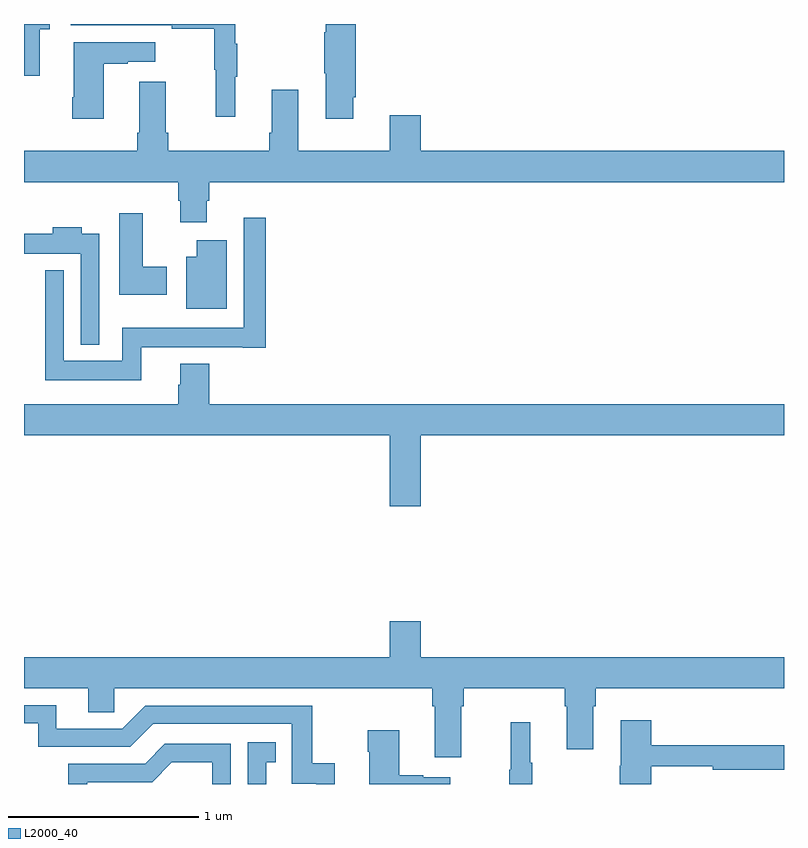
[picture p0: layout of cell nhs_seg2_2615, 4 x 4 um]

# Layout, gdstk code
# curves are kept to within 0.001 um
import gdstk
lib = gdstk.Library(unit=1e-6, precision=1e-09)
def P(c, l, *ps):  # polygons
    for p in ps: c.add(gdstk.Polygon(p, *l))
L2000_40 = (2000, 40)

nhs_seg2_2615 = lib.new_cell('nhs_seg2_2615')
P(nhs_seg2_2615, L2000_40, [(247.082,649.773),(247.135,649.773),(247.135,649.8),(247,649.8),(247,649.527),(247.082,649.527)],
  [(248.111,649.523),(248.122,649.523),(248.122,649.697),(248.111,649.697),(248.111,649.8),(247.245,649.8),(247.245,649.794),(247.777,649.794),(247.777,649.774),(248.001,649.774),(248.001,649.56),(248.008,649.56),(248.008,649.311),(248.111,649.311)],
  [(248.734,649.414),(248.747,649.414),(248.747,649.8),(248.588,649.8),(248.588,649.757),(248.581,649.757),(248.581,649.54),(248.588,649.54),(248.588,649.302),(248.734,649.302)],
  [(247.42,649.591),(247.547,649.591),(247.547,649.601),(247.69,649.601),(247.69,649.705),(247.262,649.705),(247.262,649.414),(247.255,649.414),(247.255,649.302),(247.42,649.302)],
  [(247.963,648.87),(247.976,648.87),(247.976,648.968),(251,648.968),(251,649.132),(249.088,649.132),(249.088,649.321),(248.924,649.321),(248.924,649.132),(248.443,649.132),(248.443,649.453),(248.303,649.453),(248.303,649.228),(248.291,649.228),(248.291,649.132),(247.76,649.132),(247.76,649.228),(247.747,649.228),(247.747,649.495),(247.607,649.495),(247.607,649.228),(247.595,649.228),(247.595,649.132),(247,649.132),(247,648.968),(247.811,648.968),(247.811,648.87),(247.823,648.87),(247.823,648.756),(247.963,648.756)],
  [(247.75,648.522),(247.624,648.522),(247.624,648.805),(247.502,648.805),(247.502,648.374),(247.75,648.374)],
  [(247.616,648.098),(248.15,648.098),(248.15,648.096),(248.273,648.096),(248.273,648.781),(248.157,648.781),(248.157,648.202),(247.518,648.202),(247.518,648.028),(247.209,648.028),(247.209,648.505),(247.112,648.505),(247.112,647.924),(247.616,647.924)],
  [(247.395,648.697),(247.303,648.697),(247.303,648.73),(247.151,648.73),(247.151,648.697),(247,648.697),(247,648.59),(247.299,648.59),(247.299,648.113),(247.395,648.113)],
  [(248.068,648.661),(247.91,648.661),(247.91,648.574),(247.853,648.574),(247.853,648.302),(248.068,648.302)],
  [(249.088,647.636),(251,647.636),(251,647.8),(247.976,647.8),(247.976,648.013),(247.823,648.013),(247.823,647.901),(247.811,647.901),(247.811,647.8),(247,647.8),(247,647.636),(248.924,647.636),(248.924,647.262),(249.088,647.262)],
  [(249.301,646.208),(249.314,646.208),(249.314,646.304),(249.845,646.304),(249.845,646.208),(249.857,646.208),(249.857,645.984),(249.997,645.984),(249.997,646.208),(250.01,646.208),(250.01,646.304),(251,646.304),(251,646.468),(249.088,646.468),(249.088,646.657),(248.924,646.657),(248.924,646.468),(247,646.468),(247,646.304),(247.337,646.304),(247.337,646.177),(247.476,646.177),(247.476,646.304),(249.149,646.304),(249.149,646.208),(249.161,646.208),(249.161,645.942),(249.301,645.942)],
  [(248.636,645.91),(248.518,645.91),(248.518,646.212),(247.638,646.212),(247.518,646.092),(247.171,646.092),(247.171,646.215),(247,646.215),(247,646.119),(247.074,646.119),(247.074,645.996),(247.56,645.996),(247.68,646.116),(248.409,646.116),(248.409,645.801),(248.636,645.8)],
  [(250.301,645.894),(250.624,645.894),(250.624,645.874),(251,645.874),(251,646.003),(250.301,646.003),(250.301,646.135),(250.142,646.135),(250.142,645.897),(250.135,645.897),(250.135,645.8),(250.301,645.8)],
  [(249.676,645.913),(249.665,645.913),(249.665,646.126),(249.562,646.126),(249.562,645.876),(249.555,645.876),(249.555,645.8),(249.676,645.8)],
  [(249.244,645.835),(249.101,645.835),(249.101,645.845),(248.974,645.845),(248.974,646.084),(248.809,646.084),(248.809,645.971),(248.816,645.971),(248.816,645.8),(249.244,645.8)],
  [(248.275,645.915),(248.324,645.915),(248.324,646.021),(248.178,646.021),(248.178,645.8),(248.275,645.8)],
  [(247.332,645.81),(247.674,645.81),(247.778,645.914),(247.992,645.914),(247.992,645.8),(248.088,645.8),(248.088,646.011),(247.742,646.011),(247.637,645.906),(247.234,645.906),(247.234,645.8),(247.332,645.8)])

lib.write_gds('nhs_seg2_2615.gds')
